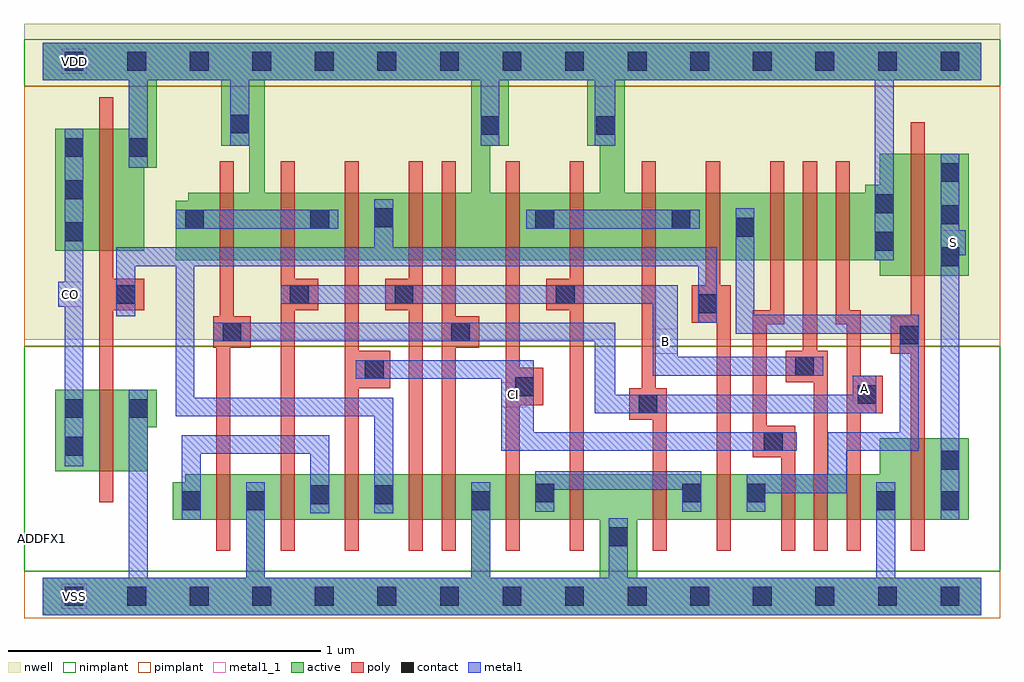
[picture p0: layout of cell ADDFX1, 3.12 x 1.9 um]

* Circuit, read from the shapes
.subckt ADDFX1 A B CI CO S VDD VSS
M1 VSS n1 CO VSS nfet w=0.26u l=0.045u
M2 VSS A n2 VSS nfet w=0.145u l=0.045u
M3 n2 B VSS VSS nfet w=0.145u l=0.045u
M4 n1 CI n2 VSS nfet w=0.145u l=0.045u
M5 n3 B n1 VSS nfet w=0.145u l=0.045u
M6 VSS A n3 VSS nfet w=0.145u l=0.045u
M7 n4 CI VSS VSS nfet w=0.145u l=0.045u
M8 VSS B n4 VSS nfet w=0.145u l=0.045u
M9 n4 A VSS VSS nfet w=0.145u l=0.045u
M10 n5 n1 n4 VSS nfet w=0.145u l=0.045u
M11 n6 CI n5 VSS nfet w=0.145u l=0.045u
M12 n7 B n6 VSS nfet w=0.145u l=0.045u
M13 VSS A n7 VSS nfet w=0.145u l=0.045u
M14 S n5 VSS VSS nfet w=0.26u l=0.045u
M15 VDD n1 CO VDD pfet w=0.39u l=0.045u
M16 VDD A n8 VDD pfet w=0.215u l=0.045u
M17 n8 B VDD VDD pfet w=0.215u l=0.045u
M18 n1 CI n8 VDD pfet w=0.215u l=0.045u
M19 n9 B n1 VDD pfet w=0.215u l=0.045u
M20 VDD A n9 VDD pfet w=0.215u l=0.045u
M21 n10 CI VDD VDD pfet w=0.215u l=0.045u
M22 VDD B n10 VDD pfet w=0.215u l=0.045u
M23 n10 A VDD VDD pfet w=0.215u l=0.045u
M24 n5 n1 n10 VDD pfet w=0.215u l=0.045u
M25 n11 CI n5 VDD pfet w=0.215u l=0.045u
M26 n12 B n11 VDD pfet w=0.215u l=0.045u
M27 VDD A n12 VDD pfet w=0.215u l=0.045u
M28 S n5 VDD VDD pfet w=0.39u l=0.045u
.ends

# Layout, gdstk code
import gdstk
lib = gdstk.Library(unit=1e-6, precision=5e-10)
def R(c, l, rs):  # rectangles x0, y0, x1, y1
    for r in rs: c.add(gdstk.rectangle(r[:2], r[2:], *l))
def A(c, l, x, y, w, h, nx, ny, dx, dy):  # array of equal rectangles
    R(c, l, [(x+i*dx, y+j*dy, x+i*dx+w, y+j*dy+h) for i in range(nx) for j in range(ny)])
def P(c, l, *ps):  # polygons
    for p in ps: c.add(gdstk.Polygon(p, *l))
active = (1, 0)
nwell = (2, 0)
poly = (3, 0)
nimplant = (4, 0)
pimplant = (5, 0)
contact = (6, 0)
metal1 = (7, 0)
metal1_1 = (7, 1)

addfx1 = lib.new_cell('ADDFX1')
P(addfx1, active, [(3,0.06),(1.9,0.06),(1.9,0.245),(2.96,0.245),(2.96,0.505),(2.675,0.505),(2.675,0.39),(1.78,0.39),(1.78,0.06),(1.43,0.06),(1.43,0.245),(1.78,0.245),(1.78,0.39),(1.37,0.39),(1.37,0.06),(0.71,0.06),(0.71,0.245),(1.37,0.245),(1.37,0.39),(0.455,0.39),(0.455,0.365),(0.415,0.365),(0.415,0.245),(0.65,0.245),(0.65,0.06),(0,0.06),(0,-0.06),(3,-0.06)],
  [(3,1.77),(1.78,1.77),(1.78,1.29),(1.43,1.29),(1.43,1.44),(1.49,1.44),(1.49,1.65),(1.74,1.65),(1.74,1.44),(1.78,1.44),(1.78,1.77),(1.37,1.77),(1.37,1.29),(0.71,1.29),(0.71,1.65),(1.37,1.65),(1.37,1.77),(0,1.77),(0,1.65),(0.275,1.65),(0.275,1.495),(0.04,1.495),(0.04,1.105),(0.325,1.105),(0.325,1.37),(0.365,1.37),(0.365,1.65),(0.57,1.65),(0.57,1.44),(0.66,1.44),(0.66,1.29),(0.465,1.29),(0.465,1.265),(0.425,1.265),(0.425,1.075),(2.675,1.075),(2.675,1.025),(2.96,1.025),(2.96,1.415),(2.675,1.415),(2.675,1.315),(2.63,1.315),(2.63,1.29),(1.86,1.29),(1.86,1.65),(3,1.65)],
  [(0.365,0.66),(0.04,0.66),(0.04,0.4),(0.335,0.4),(0.335,0.54),(0.365,0.54)])
R(addfx1, nwell, [(-0.06,0.82,3.06,1.83)])
P(addfx1, poly, [(2.82,1.515),(2.775,1.515),(2.775,0.895),(2.71,0.895),(2.71,0.775),(2.775,0.775),(2.775,0.145),(2.82,0.145)],
  [(2.685,0.705),(2.615,0.705),(2.615,0.915),(2.58,0.915),(2.58,1.39),(2.535,1.39),(2.535,0.87),(2.57,0.87),(2.57,0.145),(2.615,0.145),(2.615,0.585),(2.685,0.585)],
  [(2.51,0.785),(2.475,0.785),(2.475,1.39),(2.43,1.39),(2.43,0.785),(2.375,0.785),(2.375,0.685),(2.465,0.685),(2.465,0.145),(2.51,0.145)],
  [(2.405,0.545),(2.315,0.545),(2.315,0.87),(2.37,0.87),(2.37,1.39),(2.325,1.39),(2.325,0.915),(2.27,0.915),(2.27,0.445),(2.36,0.445),(2.36,0.145),(2.405,0.145)],
  [(2.2,0.995),(2.165,0.995),(2.165,1.39),(2.12,1.39),(2.12,0.995),(2.075,0.995),(2.075,0.875),(2.155,0.875),(2.155,0.145),(2.2,0.145)],
  [(1.995,0.665),(1.96,0.665),(1.96,1.39),(1.915,1.39),(1.915,0.665),(1.875,0.665),(1.875,0.565),(1.95,0.565),(1.95,0.145),(1.995,0.145)],
  [(1.73,1.39),(1.685,1.39),(1.685,1.015),(1.61,1.015),(1.61,0.915),(1.685,0.915),(1.685,0.145),(1.73,0.145)],
  [(1.6,0.73),(1.525,0.73),(1.525,1.39),(1.48,1.39),(1.48,0.145),(1.525,0.145),(1.525,0.61),(1.6,0.61)],
  [(1.395,0.895),(1.32,0.895),(1.32,1.39),(1.275,1.39),(1.275,0.145),(1.32,0.145),(1.32,0.795),(1.395,0.795)],
  [(1.215,1.39),(1.17,1.39),(1.17,1.015),(1.095,1.015),(1.095,0.915),(1.17,0.915),(1.17,0.145),(1.215,0.145)],
  [(1.11,0.785),(1.01,0.785),(1.01,1.39),(0.965,1.39),(0.965,0.145),(1.01,0.145),(1.01,0.665),(1.11,0.665)],
  [(0.88,1.015),(0.805,1.015),(0.805,1.39),(0.76,1.39),(0.76,0.145),(0.805,0.145),(0.805,0.915),(0.88,0.915)],
  [(0.665,0.895),(0.61,0.895),(0.61,1.39),(0.565,1.39),(0.565,0.895),(0.545,0.895),(0.545,0.795),(0.555,0.795),(0.555,0.145),(0.6,0.145),(0.6,0.795),(0.665,0.795)],
  [(0.325,1.015),(0.225,1.015),(0.225,1.595),(0.18,1.595),(0.18,0.3),(0.225,0.3),(0.225,0.915),(0.325,0.915)])
R(addfx1, nimplant, [(-0.06,0.08,3.06,0.8), (-0.06,1.63,3.06,1.78)])
R(addfx1, pimplant, [(-0.06,-0.07,3.06,0.08), (-0.06,0.8,3.06,1.63)])
A(addfx1, contact, 0.07, -0.03, 0.06, 0.06, 15, 2, 0.2, 1.71)
A(addfx1, contact, 2.87, 1.055, 0.06, 0.06, 1, 3, 0, 0.135)
A(addfx1, contact, 0.07, 1.135, 0.06, 0.06, 1, 3, 0, 0.135)
R(addfx1, contact, [(1.81,0.16,1.87,0.22), (0.445,0.275,0.505,0.335), (0.65,0.275,0.71,0.335), (1.37,0.275,1.43,0.335), (2.665,0.275,2.725,0.335), (2.87,0.275,2.93,0.335), (0.855,0.295,0.915,0.355), (1.06,0.295,1.12,0.355), (1.575,0.3,1.635,0.36), (2.045,0.3,2.105,0.36), (2.25,0.3,2.31,0.36), (2.87,0.405,2.93,0.465), (0.07,0.45,0.13,0.51), (2.305,0.465,2.365,0.525), (0.07,0.57,0.13,0.63), (0.275,0.57,0.335,0.63), (1.905,0.585,1.965,0.645), (2.605,0.615,2.665,0.675), (1.51,0.64,1.57,0.7), (1.03,0.695,1.09,0.755), (2.405,0.705,2.465,0.765), (2.74,0.805,2.8,0.865), (0.575,0.815,0.635,0.875), (1.305,0.815,1.365,0.875), (2.095,0.905,2.155,0.965), (0.235,0.935,0.295,0.995), (0.79,0.935,0.85,0.995), (1.125,0.935,1.185,0.995), (1.64,0.935,1.7,0.995), (2.66,1.105,2.72,1.165), (2.215,1.15,2.275,1.21), (0.455,1.175,0.515,1.235), (0.855,1.175,0.915,1.235), (1.575,1.175,1.635,1.235), (2.01,1.175,2.07,1.235), (1.06,1.18,1.12,1.24), (2.66,1.225,2.72,1.285), (0.275,1.405,0.335,1.465), (1.4,1.475,1.46,1.535), (1.77,1.475,1.83,1.535), (0.6,1.48,0.66,1.54)])
R(addfx1, metal1, [(0.425,1.175,0.945,1.235), (1.545,1.175,2.1,1.235)])
P(addfx1, metal1, [(3,0.06),(2.725,0.06),(2.725,0.365),(2.665,0.365),(2.665,0.06),(1.87,0.06),(1.87,0.25),(1.81,0.25),(1.81,0.06),(1.43,0.06),(1.43,0.365),(1.37,0.365),(1.37,0.06),(0.71,0.06),(0.71,0.365),(0.65,0.365),(0.65,0.06),(0.335,0.06),(0.335,0.66),(0.275,0.66),(0.275,0.06),(0,0.06),(0,-0.06),(3,-0.06)],
  [(3,1.77),(0,1.77),(0,1.65),(0.275,1.65),(0.275,1.37),(0.335,1.37),(0.335,1.65),(0.6,1.65),(0.6,1.44),(0.66,1.44),(0.66,1.65),(1.4,1.65),(1.4,1.44),(1.46,1.44),(1.46,1.65),(1.765,1.65),(1.765,1.44),(1.83,1.44),(1.83,1.65),(2.66,1.65),(2.66,1.075),(2.72,1.075),(2.72,1.65),(3,1.65)],
  [(2.95,1.17),(2.93,1.17),(2.93,1.415),(2.87,1.415),(2.87,0.245),(2.93,0.245),(2.93,1.09),(2.95,1.09)],
  [(2.8,0.9),(2.275,0.9),(2.275,1.24),(2.215,1.24),(2.215,0.84),(2.74,0.84),(2.74,0.525),(2.51,0.525),(2.51,0.39),(2.25,0.39),(2.25,0.27),(2.31,0.27),(2.31,0.33),(2.57,0.33),(2.57,0.465),(2.8,0.465)],
  [(2.665,0.705),(2.59,0.705),(2.59,0.645),(1.83,0.645),(1.83,0.875),(0.545,0.875),(0.545,0.815),(1.765,0.815),(1.765,0.585),(2.665,0.585)],
  [(2.495,0.765),(2.03,0.765),(2.03,0.995),(0.76,0.995),(0.76,0.935),(1.95,0.935),(1.95,0.705),(2.495,0.705)],
  [(2.41,0.525),(1.57,0.525),(1.57,0.755),(1,0.755),(1,0.695),(1.465,0.695),(1.465,0.465),(2.41,0.465)],
  [(2.155,1.115),(1.12,1.115),(1.12,1.27),(1.06,1.27),(1.06,1.115),(0.235,1.115),(0.235,0.895),(0.295,0.895),(0.295,1.055),(0.425,1.055),(0.425,0.575),(1.06,0.575),(1.06,0.265),(1.12,0.265),(1.12,0.635),(0.485,0.635),(0.485,1.055),(2.095,1.055),(2.095,0.875),(2.155,0.875)],
  [(2.105,0.4),(1.575,0.4),(1.575,0.27),(1.635,0.27),(1.635,0.34),(2.045,0.34),(2.045,0.27),(2.105,0.27)],
  [(0.915,0.515),(0.445,0.515),(0.445,0.245),(0.505,0.245),(0.505,0.455),(0.855,0.455),(0.855,0.265),(0.915,0.265)],
  [(0.13,1.495),(0.07,1.495),(0.07,1.005),(0.05,1.005),(0.05,0.925),(0.07,0.925),(0.07,0.415),(0.13,0.415)])
R(addfx1, metal1_1, [(0.06,-0.04,0.14,0.04), (1.465,0.605,1.545,0.685), (2.59,0.625,2.665,0.705), (1.95,0.775,2.03,0.855), (0.05,0.925,0.13,1.005), (2.87,1.09,2.95,1.17), (0.06,1.67,0.14,1.75)])
addfx1.add(gdstk.Label('CI', (1.505,0.645), layer=7, texttype=1))
addfx1.add(gdstk.Label('S', (2.91,1.13), layer=7, texttype=1))
addfx1.add(gdstk.Label('CO', (0.09,0.965), layer=7, texttype=1))
addfx1.add(gdstk.Label('B', (1.99,0.815), layer=7, texttype=1))
addfx1.add(gdstk.Label('A', (2.6275,0.665), layer=7, texttype=1))
addfx1.add(gdstk.Label('VSS', (0.1,0), layer=7, texttype=1))
addfx1.add(gdstk.Label('VDD', (0.1,1.71), layer=7, texttype=1))
addfx1.add(gdstk.Label('ADDFX1', (0,0.185), layer=63, texttype=0))

lib.write_gds('ADDFX1.gds')
